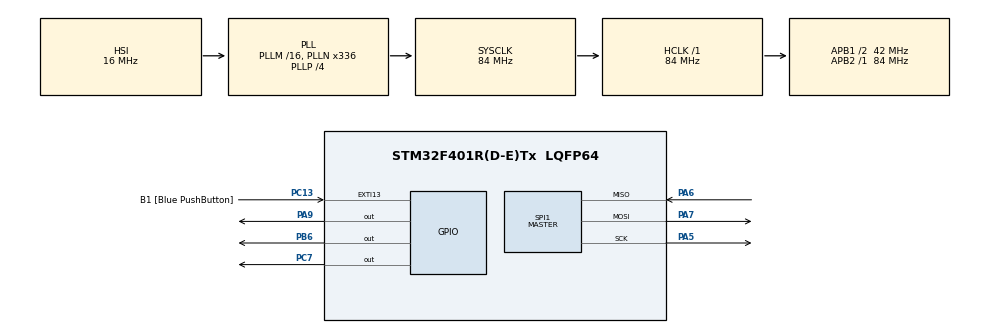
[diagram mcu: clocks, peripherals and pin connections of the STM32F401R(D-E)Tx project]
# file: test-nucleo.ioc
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Mcu.Family=STM32F4
Mcu.Name=STM32F401R(D-E)Tx
Mcu.Package=LQFP64
NVIC.PriorityGroup=NVIC_PRIORITYGROUP_4
PA13.GPIO_Label=TMS
PA13.Mode=Trace_Asynchronous_SW
PA13.Signal=SYS_JTMS-SWDIO
PA14.GPIO_Label=TCK
PA14.Mode=Trace_Asynchronous_SW
PA14.Signal=SYS_JTCK-SWCLK
PA2.GPIO_Label=USART_TX
PA2.GPIO_Mode=GPIO_MODE_AF_PP
PA2.GPIO_PuPd=GPIO_NOPULL
PA2.GPIO_Speed=GPIO_SPEED_FREQ_LOW
PA2.Signal=USART2_TX
PA5.Mode=Full_Duplex_Master
PA5.Signal=SPI1_SCK
PA6.Mode=Full_Duplex_Master
PA6.Signal=SPI1_MISO
PA7.Mode=Full_Duplex_Master
PA7.Signal=SPI1_MOSI
PA9.Signal=GPIO_Output
PB3.GPIO_Label=SWO
PB3.Mode=Trace_Asynchronous_SW
PB3.Signal=SYS_JTDO-SWO
PB6.Signal=GPIO_Output
PC13-ANTI_TAMP.GPIO_Label=B1 [Blue PushButton]
PC13-ANTI_TAMP.GPIO_ModeDefaultEXTI=GPIO_MODE_IT_FALLING
PC13-ANTI_TAMP.GPIO_PuPd=GPIO_NOPULL
PC13-ANTI_TAMP.Signal=GPXTI13
PC14-OSC32_IN.Mode=LSE-External-Oscillator
PC14-OSC32_IN.Signal=RCC_OSC32_IN
PC15-OSC32_OUT.Mode=LSE-External-Oscillator
PC15-OSC32_OUT.Signal=RCC_OSC32_OUT
PC7.Signal=GPIO_Output
PH0\ -\ OSC_IN.Mode=HSE-External-Clock-Source
PH0\ -\ OSC_IN.Signal=RCC_OSC_IN
PH1\ -\ OSC_OUT.Mode=HSE-External-Clock-Source
PH1\ -\ OSC_OUT.Signal=RCC_OSC_OUT
ProjectManager.HeapSize=0x200
ProjectManager.StackSize=0x400
ProjectManager.TargetToolchain=STM32CubeIDE
RCC.48MHZClocksFreq_Value=48000000
RCC.AHBFreq_Value=84000000
RCC.APB1CLKDivider=RCC_HCLK_DIV2
RCC.APB1Freq_Value=42000000
RCC.APB1TimFreq_Value=84000000
RCC.APB2Freq_Value=84000000
RCC.APB2TimFreq_Value=84000000
RCC.CortexFreq_Value=84000000
RCC.HCLKFreq_Value=84000000
RCC.HSE_VALUE=8000000
RCC.HSI_VALUE=16000000
RCC.PLLN=336
RCC.PLLP=RCC_PLLP_DIV4
RCC.PLLQ=7
RCC.SYSCLKFreq_VALUE=84000000
RCC.SYSCLKSource=RCC_SYSCLKSOURCE_PLLCLK
RCC.VCOOutputFreq_Value=336000000
SPI1.BaudRatePrescaler=SPI_BAUDRATEPRESCALER_16
SPI1.Direction=SPI_DIRECTION_2LINES
SPI1.Mode=SPI_MODE_MASTER
SPI1.VirtualType=VM_MASTER
board=NUCLEO-F401RE

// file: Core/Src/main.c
/* USER CODE BEGIN Header */
/**
  ******************************************************************************
  * @file           : main.c
  * @brief          : Main program body
  ******************************************************************************
  * @attention
  *
  * Copyright (c) 2026 STMicroelectronics.
  * All rights reserved.
  *
  * This software is licensed under terms that can be found in the LICENSE file
  * in the root directory of this software component.
  * If no LICENSE file comes with this software, it is provided AS-IS.
  *
  ******************************************************************************
  */
/* USER CODE END Header */
#include "main.h"

SPI_HandleTypeDef hspi1;

void SystemClock_Config(void);
static void MX_GPIO_Init(void);
static void MX_SPI1_Init(void);

/* USER CODE BEGIN 0 */

#define LCD_CS_PORT GPIOB
#define LCD_CS_PIN  GPIO_PIN_6

#define LCD_DC_PORT GPIOA
#define LCD_DC_PIN  GPIO_PIN_9

#define LCD_RST_PORT GPIOC
#define LCD_RST_PIN  GPIO_PIN_7

#define LCD_WIDTH  320
#define LCD_HEIGHT 240

static void LCD_Command(uint8_t cmd)
{
    HAL_GPIO_WritePin(LCD_DC_PORT, LCD_DC_PIN, GPIO_PIN_RESET);
    HAL_GPIO_WritePin(LCD_CS_PORT, LCD_CS_PIN, GPIO_PIN_RESET);

    HAL_SPI_Transmit(&hspi1, &cmd, 1, HAL_MAX_DELAY);

    HAL_GPIO_WritePin(LCD_CS_PORT, LCD_CS_PIN, GPIO_PIN_SET);
}

static void LCD_Data(uint8_t *data, uint16_t size)
{
    HAL_GPIO_WritePin(LCD_DC_PORT, LCD_DC_PIN, GPIO_PIN_SET);
    HAL_GPIO_WritePin(LCD_CS_PORT, LCD_CS_PIN, GPIO_PIN_RESET);

    HAL_SPI_Transmit(&hspi1, data, size, HAL_MAX_DELAY);

    HAL_GPIO_WritePin(LCD_CS_PORT, LCD_CS_PIN, GPIO_PIN_SET);
}

static void LCD_Reset(void)
{
    HAL_GPIO_WritePin(LCD_CS_PORT, LCD_CS_PIN, GPIO_PIN_SET);

    HAL_GPIO_WritePin(LCD_RST_PORT, LCD_RST_PIN, GPIO_PIN_RESET);
    HAL_Delay(100);

    HAL_GPIO_WritePin(LCD_RST_PORT, LCD_RST_PIN, GPIO_PIN_SET);
    HAL_Delay(500);
}

static void LCD_Init(void)
{
    LCD_Reset();

    LCD_Command(0x01);  // Software reset
    HAL_Delay(150);

    LCD_Command(0x11);  // Sleep out
    HAL_Delay(150);

    uint8_t color_mode = 0x05; // RGB565
    LCD_Command(0x3A);
    LCD_Data(&color_mode, 1);

    uint8_t madctl = 0x00;
    LCD_Command(0x36);
    LCD_Data(&madctl, 1);

    LCD_Command(0x13); // Normal display mode
    HAL_Delay(10);

    LCD_Command(0x29); // Display on
    HAL_Delay(100);
}

static void LCD_SetWindow(uint8_t x0, uint8_t y0,
                          uint8_t x1, uint8_t y1)
{
    // Typowe przesunięcie dla ST7735 128x128.
    // Może wymagać zmiany zależnie od modułu.
    const uint8_t x_offset = 2;
    const uint8_t y_offset = 1;

    uint16_t xs = x0 + x_offset;
    uint16_t xe = x1 + x_offset;
    uint16_t ys = y0 + y_offset;
    uint16_t ye = y1 + y_offset;

    uint8_t data[4];

    LCD_Command(0x2A); // Column address
    data[0] = xs >> 8;
    data[1] = xs & 0xFF;
    data[2] = xe >> 8;
    data[3] = xe & 0xFF;
    LCD_Data(data, 4);

    LCD_Command(0x2B); // Row address
    data[0] = ys >> 8;
    data[1] = ys & 0xFF;
    data[2] = ye >> 8;
    data[3] = ye & 0xFF;
    LCD_Data(data, 4);

    LCD_Command(0x2C); // Memory write
}

static void LCD_Fill(uint16_t color)
{
    LCD_SetWindow(0, 0, LCD_WIDTH - 1, LCD_HEIGHT - 1);

    uint8_t buffer[LCD_WIDTH*2];

    for (int i = 0; i < LCD_WIDTH; i++) {
        buffer[2*i]     = color >> 8;
        buffer[2*i + 1] = color & 0xFF;
    }

    HAL_GPIO_WritePin(LCD_DC_PORT, LCD_DC_PIN, GPIO_PIN_SET);
    HAL_GPIO_WritePin(LCD_CS_PORT, LCD_CS_PIN, GPIO_PIN_RESET);

    for (int i = 0; i < LCD_HEIGHT; i++) {
        HAL_SPI_Transmit(&hspi1, buffer, sizeof(buffer),
                         HAL_MAX_DELAY);
    }

    HAL_GPIO_WritePin(LCD_CS_PORT, LCD_CS_PIN, GPIO_PIN_SET);
}

/* USER CODE END 0 */

int main(void)
{

  /* MCU Configuration--------------------------------------------------------*/

  /* Reset of all peripherals, Initializes the Flash interface and the Systick. */
  HAL_Init();

  /* Configure the system clock */
  SystemClock_Config();

  /* Initialize all configured peripherals */
  MX_GPIO_Init();
  MX_SPI1_Init();
  /* USER CODE BEGIN 2 */
  HAL_Delay(1000);
  LCD_Init();
  GPIOA->MODER &= ~(3U << 10);
  GPIOA->MODER |=  (1U << 10);

  while (1) {
      GPIOA->ODR ^= GPIO_PIN_5;

      for (volatile uint32_t i = 0; i < 1000000; i++) {
          __NOP();
      }
  }
//  LCD_Init();
  /* USER CODE END 2 */

  /* Infinite loop */
  /* USER CODE BEGIN WHILE */
  int i = 0;
  while (1)
  {
//	  LCD_Fill(i);
//	  HAL_Delay(100);
//	  i = (i + 1) % 0xFFFF;
//	    LCD_Fill(0xF800); // Czerwony
//	    HAL_Delay(1000);
//
//	    LCD_Fill(0x07E0); // Zielony
//	    HAL_Delay(1000);
//
//	    LCD_Fill(0x001F); // Niebieski
//	    HAL_Delay(1000);
//
//	    LCD_Fill(0xFFFF); // Biały
//	    HAL_Delay(1000);
//
//	    LCD_Fill(0x0000); // Czarny
//	    HAL_Delay(1000);
    /* USER CODE END WHILE */

  }
}

void SystemClock_Config(void)
{
  RCC_OscInitTypeDef RCC_OscInitStruct = {0};
  RCC_ClkInitTypeDef RCC_ClkInitStruct = {0};

  /** Configure the main internal regulator output voltage
  */
  __HAL_RCC_PWR_CLK_ENABLE();
  __HAL_PWR_VOLTAGESCALING_CONFIG(PWR_REGULATOR_VOLTAGE_SCALE2);

  /** Initializes the RCC Oscillators according to the specified parameters
  * in the RCC_OscInitTypeDef structure.
  */
  RCC_OscInitStruct.OscillatorType = RCC_OSCILLATORTYPE_HSI;
  RCC_OscInitStruct.HSIState = RCC_HSI_ON;
  RCC_OscInitStruct.HSICalibrationValue = RCC_HSICALIBRATION_DEFAULT;
  RCC_OscInitStruct.PLL.PLLState = RCC_PLL_ON;
  RCC_OscInitStruct.PLL.PLLSource = RCC_PLLSOURCE_HSI;
  RCC_OscInitStruct.PLL.PLLM = 16;
  RCC_OscInitStruct.PLL.PLLN = 336;
  RCC_OscInitStruct.PLL.PLLP = RCC_PLLP_DIV4;
  RCC_OscInitStruct.PLL.PLLQ = 7;
  if (HAL_RCC_OscConfig(&RCC_OscInitStruct) != HAL_OK)
  {
    Error_Handler();
  }

  /** Initializes the CPU, AHB and APB buses clocks
  */
  RCC_ClkInitStruct.ClockType = RCC_CLOCKTYPE_HCLK|RCC_CLOCKTYPE_SYSCLK
                              |RCC_CLOCKTYPE_PCLK1|RCC_CLOCKTYPE_PCLK2;
  RCC_ClkInitStruct.SYSCLKSource = RCC_SYSCLKSOURCE_PLLCLK;
  RCC_ClkInitStruct.AHBCLKDivider = RCC_SYSCLK_DIV1;
  RCC_ClkInitStruct.APB1CLKDivider = RCC_HCLK_DIV2;
  RCC_ClkInitStruct.APB2CLKDivider = RCC_HCLK_DIV1;

  if (HAL_RCC_ClockConfig(&RCC_ClkInitStruct, FLASH_LATENCY_2) != HAL_OK)
  {
    Error_Handler();
  }
}

static void MX_SPI1_Init(void)
{

  /* SPI1 parameter configuration*/
  hspi1.Instance = SPI1;
  hspi1.Init.Mode = SPI_MODE_MASTER;
  hspi1.Init.Direction = SPI_DIRECTION_2LINES;
  hspi1.Init.DataSize = SPI_DATASIZE_8BIT;
  hspi1.Init.CLKPolarity = SPI_POLARITY_LOW;
  hspi1.Init.CLKPhase = SPI_PHASE_1EDGE;
  hspi1.Init.NSS = SPI_NSS_SOFT;
  hspi1.Init.BaudRatePrescaler = SPI_BAUDRATEPRESCALER_16;
  hspi1.Init.FirstBit = SPI_FIRSTBIT_MSB;
  hspi1.Init.TIMode = SPI_TIMODE_DISABLE;
  hspi1.Init.CRCCalculation = SPI_CRCCALCULATION_DISABLE;
  hspi1.Init.CRCPolynomial = 10;
  if (HAL_SPI_Init(&hspi1) != HAL_OK)
  {
    Error_Handler();
  }

}

static void MX_GPIO_Init(void)
{
  GPIO_InitTypeDef GPIO_InitStruct = {0};

  /* GPIO Ports Clock Enable */
  __HAL_RCC_GPIOC_CLK_ENABLE();
  __HAL_RCC_GPIOH_CLK_ENABLE();
  __HAL_RCC_GPIOA_CLK_ENABLE();
  __HAL_RCC_GPIOB_CLK_ENABLE();

  /*Configure GPIO pin Output Level */
  HAL_GPIO_WritePin(GPIOC, GPIO_PIN_7, GPIO_PIN_RESET);

  /*Configure GPIO pin Output Level */
  HAL_GPIO_WritePin(GPIOA, GPIO_PIN_9, GPIO_PIN_RESET);

  /*Configure GPIO pin Output Level */
  HAL_GPIO_WritePin(GPIOB, GPIO_PIN_6, GPIO_PIN_RESET);

  /*Configure GPIO pin : B1_Pin */
  GPIO_InitStruct.Pin = B1_Pin;
  GPIO_InitStruct.Mode = GPIO_MODE_IT_FALLING;
  GPIO_InitStruct.Pull = GPIO_NOPULL;
  HAL_GPIO_Init(B1_GPIO_Port, &GPIO_InitStruct);

  /*Configure GPIO pin : USART_TX_Pin */
  GPIO_InitStruct.Pin = USART_TX_Pin;
  GPIO_InitStruct.Mode = GPIO_MODE_AF_PP;
  GPIO_InitStruct.Pull = GPIO_NOPULL;
  GPIO_InitStruct.Speed = GPIO_SPEED_FREQ_LOW;
  GPIO_InitStruct.Alternate = GPIO_AF7_USART2;
  HAL_GPIO_Init(USART_TX_GPIO_Port, &GPIO_InitStruct);

  /*Configure GPIO pin : PC7 */
  GPIO_InitStruct.Pin = GPIO_PIN_7;
  GPIO_InitStruct.Mode = GPIO_MODE_OUTPUT_PP;
  GPIO_InitStruct.Pull = GPIO_NOPULL;
  GPIO_InitStruct.Speed = GPIO_SPEED_FREQ_LOW;
  HAL_GPIO_Init(GPIOC, &GPIO_InitStruct);

  /*Configure GPIO pin : PA9 */
  GPIO_InitStruct.Pin = GPIO_PIN_9;
  GPIO_InitStruct.Mode = GPIO_MODE_OUTPUT_PP;
  GPIO_InitStruct.Pull = GPIO_NOPULL;
  GPIO_InitStruct.Speed = GPIO_SPEED_FREQ_LOW;
  HAL_GPIO_Init(GPIOA, &GPIO_InitStruct);

  /*Configure GPIO pin : PB6 */
  GPIO_InitStruct.Pin = GPIO_PIN_6;
  GPIO_InitStruct.Mode = GPIO_MODE_OUTPUT_PP;
  GPIO_InitStruct.Pull = GPIO_NOPULL;
  GPIO_InitStruct.Speed = GPIO_SPEED_FREQ_LOW;
  HAL_GPIO_Init(GPIOB, &GPIO_InitStruct);

}

void Error_Handler(void)
{
  __disable_irq();
  while (1)
  {
  }
}
